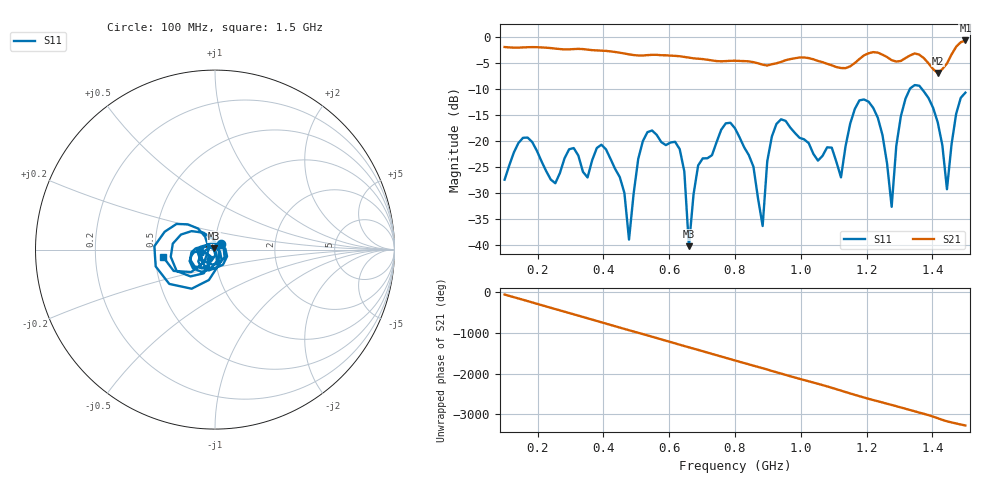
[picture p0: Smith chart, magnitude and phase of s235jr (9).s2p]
! NanoVNA-App
! Date: 2025-09-25 15:04:14
! Start: 100MHz Stop: 1,5GHz Points: 101
! S-Parameter data: F S11 S21 S12 S22
# Hz S RI R 50
!  Frequency  S11_Real  S11_Imag  S21_Real  S21_Imag  S12_Real  S12_Imag  S22_Real  S22_Imag
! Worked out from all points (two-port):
!   101 points, 100 MHz to 1.5 GHz, reference 50 ohm
!   highest |S21| = -0.70 dB at 1.5 GHz (marker M1); lowest = -7.0 dB at 1.416 GHz (marker M2)
!   |S21| within 3 dB of the highest: start of sweep to 625.1 MHz; 1.189 GHz to 1.256 GHz (66.95 MHz wide, 5.48 % of centre) (the widest 2 of 4)
!   lowest |S11| = -40.3 dB at 660 MHz (marker M3), VSWR 1.02, Z = 49.3 + j0.648 ohm
!   |S11| at or under -10 dB: start of sweep to 1.332 GHz; 1.367 GHz to end of sweep
!   S12 and S22 are empty: the file has one direction only
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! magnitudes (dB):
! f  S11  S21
! 100 MHz  -27.5  -2.0
! 156 MHz  -19.4  -2.0
! 338 MHz  -26.0  -2.4
! 408 MHz  -21.6  -2.7
! 478 MHz  -39.0  -3.4
! 520 MHz  -20.1  -3.6
! 576 MHz  -20.3  -3.5
! 632 MHz  -21.6  -3.7
! 660 MHz  -40.3  -4.0
! 688 MHz  -24.7  -4.2
! 800 MHz  -17.6  -4.6
! 884 MHz  -36.4  -5.4
! 926 MHz  -16.8  -5.1
! 1.038 GHz  -22.5  -4.3
! 1.122 GHz  -27.0  -6.0
! 1.206 GHz  -12.5  -3.2
! 1.276 GHz  -32.7  -4.5
! 1.304 GHz  -15.3  -4.6
! 1.332 GHz  -9.9  -3.6
! 1.416 GHz  -16.5  -7.0
! 1.444 GHz  -29.3  -5.1
! 1.5 GHz  -10.7  -0.7
